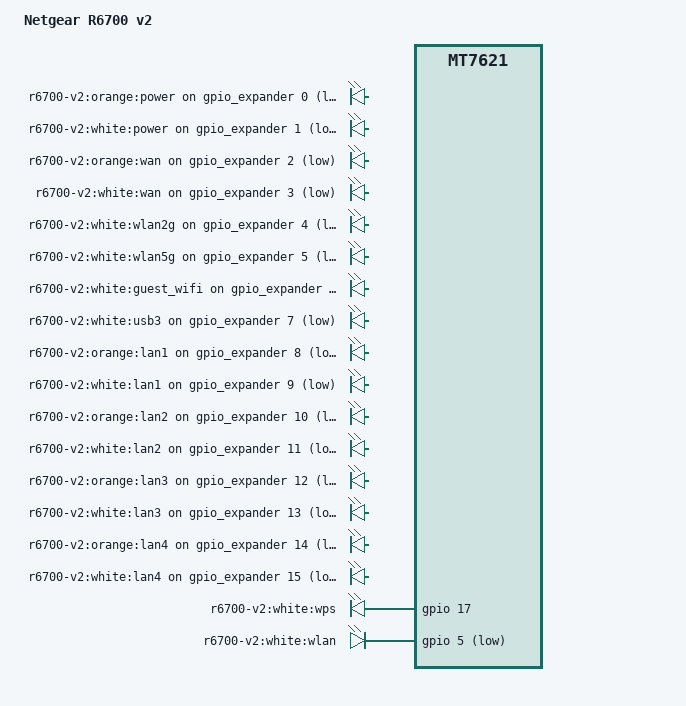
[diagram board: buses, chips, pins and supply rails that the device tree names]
// SPDX-License-Identifier: GPL-2.0
/dts-v1/;

#include "mt7621_netgear_sercomm_bzv.dtsi"

/ {
	compatible = "netgear,r6700-v2", "mediatek,mt7621-soc";
	model = "Netgear R6700 v2";

	aliases {
		led-boot = &led_power_white;
		led-failsafe = &led_power_orange;
		led-running = &led_power_white;
		led-upgrade = &led_power_orange;
	};

	leds {
		compatible = "gpio-leds";

		led_power_orange: power_orange {
			gpios = <&gpio_expander 0 GPIO_ACTIVE_LOW>;
			label = "r6700-v2:orange:power";
		};

		led_power_white: power_white {
			gpios = <&gpio_expander 1 GPIO_ACTIVE_LOW>;
			label = "r6700-v2:white:power";
		};

		wan_orange {
			gpios = <&gpio_expander 2 GPIO_ACTIVE_LOW>;
			label = "r6700-v2:orange:wan";
		};

		wan_white {
			gpios = <&gpio_expander 3 GPIO_ACTIVE_LOW>;
			label = "r6700-v2:white:wan";
		};

		wlan2g {
			gpios = <&gpio_expander 4 GPIO_ACTIVE_LOW>;
			label = "r6700-v2:white:wlan2g";
			linux,default-trigger = "phy0radio";
		};

		wlan5g {
			gpios = <&gpio_expander 5 GPIO_ACTIVE_LOW>;
			label = "r6700-v2:white:wlan5g";
			linux,default-trigger = "phy1radio";
		};

		guest_wifi {
			gpios = <&gpio_expander 6 GPIO_ACTIVE_LOW>;
			label = "r6700-v2:white:guest_wifi";
		};

		usb3 {
			gpios = <&gpio_expander 7 GPIO_ACTIVE_LOW>;
			label = "r6700-v2:white:usb3";
			linux,default-trigger = "usbport";
			trigger-sources = <&xhci_ehci_port1>;
		};

		lan1_orange {
			gpios = <&gpio_expander 8 GPIO_ACTIVE_LOW>;
			label = "r6700-v2:orange:lan1";
		};

		lan1_white {
			gpios = <&gpio_expander 9 GPIO_ACTIVE_LOW>;
			label = "r6700-v2:white:lan1";
		};

		lan2_orange {
			gpios = <&gpio_expander 10 GPIO_ACTIVE_LOW>;
			label = "r6700-v2:orange:lan2";
		};

		lan2_white {
			gpios = <&gpio_expander 11 GPIO_ACTIVE_LOW>;
			label = "r6700-v2:white:lan2";
		};

		lan3_orange {
			gpios = <&gpio_expander 12 GPIO_ACTIVE_LOW>;
			label = "r6700-v2:orange:lan3";
		};

		lan3_white {
			gpios = <&gpio_expander 13 GPIO_ACTIVE_LOW>;
			label = "r6700-v2:white:lan3";
		};

		lan4_orange {
			gpios = <&gpio_expander 14 GPIO_ACTIVE_LOW>;
			label = "r6700-v2:orange:lan4";
		};

		lan4_white {
			gpios = <&gpio_expander 15 GPIO_ACTIVE_LOW>;
			label = "r6700-v2:white:lan4";
		};

		wps {
			gpios = <&gpio 17 GPIO_ACTIVE_HIGH>;
			label = "r6700-v2:white:wps";
		};

		wlan {
			gpios = <&gpio 5 GPIO_ACTIVE_LOW>;
			label = "r6700-v2:white:wlan";
		};
	};
};

&state_default {
	gpio {
		groups = "uart3", "uart2", "jtag", "wdt";
		function = "gpio";
	};
};
